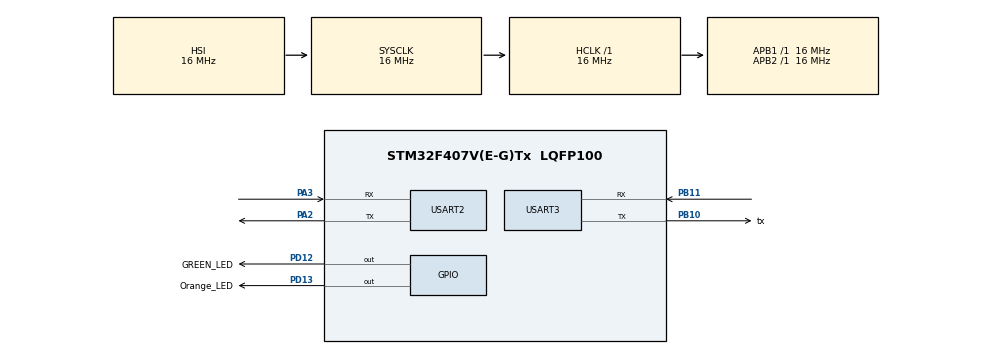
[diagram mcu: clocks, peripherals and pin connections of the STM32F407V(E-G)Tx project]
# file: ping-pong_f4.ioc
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Mcu.Family=STM32F4
Mcu.Name=STM32F407V(E-G)Tx
Mcu.Package=LQFP100
NVIC.PriorityGroup=NVIC_PRIORITYGROUP_4
NVIC.USART3_IRQn=true\:0\:0\:false\:true\:true\:1\:true\:true\:true
PA2.Mode=Asynchronous
PA2.Signal=USART2_TX
PA3.Mode=Asynchronous
PA3.Signal=USART2_RX
PB10.GPIO_Label=tx
PB10.GPIO_PuPd=GPIO_PULLDOWN
PB10.Mode=Asynchronous
PB10.Signal=USART3_TX
PB11.GPIO_PuPd=GPIO_PULLDOWN
PB11.Mode=Asynchronous
PB11.Signal=USART3_RX
PD12.GPIO_Label=GREEN_LED
PD12.GPIO_PuPd=GPIO_NOPULL
PD12.Signal=GPIO_Output
PD13.GPIO_Label=Orange_LED
PD13.Signal=GPIO_Output
ProjectManager.HeapSize=0x200
ProjectManager.StackSize=0x400
ProjectManager.TargetToolchain=STM32CubeIDE
RCC.AHBFreq_Value=16000000
RCC.APB1Freq_Value=16000000
RCC.APB2Freq_Value=16000000
RCC.CortexFreq_Value=16000000
RCC.HSE_VALUE=25000000
RCC.HSI_VALUE=16000000
RCC.LSE_VALUE=32768
RCC.SYSCLKFreq_VALUE=16000000
RCC.VCOOutputFreq_Value=192000000
USART2.VirtualMode=VM_ASYNC
USART3.VirtualMode=VM_ASYNC
board=custom

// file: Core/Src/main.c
/* USER CODE BEGIN Header */
/**
 ******************************************************************************
 * @file           : main.c
 * @brief          : Main program body
 ******************************************************************************
 * @attention
 *
 * Copyright (c) 2025 STMicroelectronics.
 * All rights reserved.
 *
 * This software is licensed under terms that can be found in the LICENSE file
 * in the root directory of this software component.
 * If no LICENSE file comes with this software, it is provided AS-IS.
 *
 ******************************************************************************
 */
/* USER CODE END Header */
#include "main.h"
#include "usart.h"
#include "gpio.h"
#include <string.h>
#include <stdlib.h>

void SystemClock_Config(void);
static void MX_NVIC_Init(void);
/* USER CODE BEGIN PFP */

#define RING_BUFF_SIZE 4
uint8_t buffer[RING_BUFF_SIZE];
volatile uint8_t cmd_index = 0;   // Tracks position in cmd_buffer
volatile uint8_t rcv_cmplt = 0;   // Tracks position in cmd_buffer

/* USER CODE END PFP */

/* USER CODE BEGIN 0 */
uint8_t tx_buffer[4];
uint8_t rx_buff;

//char my_buff[BUFF_SIZE]={0} ;

void HAL_UART_RxCpltCallback(UART_HandleTypeDef *huart) {
	// update the buffer index
	buffer[cmd_index] = rx_buff;
	cmd_index = (cmd_index + 1) % 4;
	if (cmd_index == 0) {
		rcv_cmplt = 1;
	}
	HAL_UART_Receive_IT(&huart3, &rx_buff, 1);
}

volatile uint64_t prev = 0;
/* USER CODE END 0 */

int main(void) {

	/* MCU Configuration--------------------------------------------------------*/

	/* Reset of all peripherals, Initializes the Flash interface and the Systick. */
	HAL_Init();

	/* Configure the system clock */
	SystemClock_Config();

	/* Initialize all configured peripherals */
	MX_GPIO_Init();
	MX_USART2_UART_Init();
	MX_USART3_UART_Init();

	/* Initialize interrupts */
	MX_NVIC_Init();

	/* Infinite loop */
	/* USER CODE BEGIN WHILE */
	HAL_UART_Receive_IT(&huart3, &rx_buff, 1);
	uint8_t first = 1;
	srand(HAL_GetTick());
	uint32_t random_delay = 2000 + rand() % 1000;
	uint32_t start_time = HAL_GetTick();

	while (1) {
		if (first && (HAL_GetTick() - start_time > random_delay)) {
			first = 0;
			memcpy(tx_buffer, "PING", RING_BUFF_SIZE);
			HAL_UART_Transmit_IT(&huart3, tx_buffer, RING_BUFF_SIZE);
			first = 0;
		}

		if (rcv_cmplt) {
			rcv_cmplt = 0;
			if (buffer[0] == 'P' && buffer[1] == 'I' && buffer[2] == 'N'
					&& buffer[3] == 'G') {
				memcpy(tx_buffer, "PONG", RING_BUFF_SIZE);
			} else if (buffer[0] == 'P' && buffer[1] == 'O' && buffer[2] == 'N'
					&& buffer[3] == 'G') {
				memcpy(tx_buffer, "PING", RING_BUFF_SIZE);

			} else {
			}
			HAL_GPIO_WritePin(GREEN_LED_GPIO_Port, GREEN_LED_Pin, GPIO_PIN_RESET);
			for (int i = 0; i < 4; i++) {
				HAL_GPIO_TogglePin(GREEN_LED_GPIO_Port, GREEN_LED_Pin);
				HAL_Delay(100);  // Short delay for visible blinking
			}

			HAL_UART_Transmit(&huart3, tx_buffer, RING_BUFF_SIZE,
			HAL_MAX_DELAY);

		}

//		  HAL_GPIO_TogglePin(Orange_LED_GPIO_Port, Orange_LED_Pin);
//		HAL_Delay(1000);

		/* USER CODE END WHILE */

	}
}

void SystemClock_Config(void)
{
  RCC_OscInitTypeDef RCC_OscInitStruct = {0};
  RCC_ClkInitTypeDef RCC_ClkInitStruct = {0};

  /** Configure the main internal regulator output voltage
  */
  __HAL_RCC_PWR_CLK_ENABLE();
  __HAL_PWR_VOLTAGESCALING_CONFIG(PWR_REGULATOR_VOLTAGE_SCALE1);

  /** Initializes the RCC Oscillators according to the specified parameters
  * in the RCC_OscInitTypeDef structure.
  */
  RCC_OscInitStruct.OscillatorType = RCC_OSCILLATORTYPE_HSI;
  RCC_OscInitStruct.HSIState = RCC_HSI_ON;
  RCC_OscInitStruct.HSICalibrationValue = RCC_HSICALIBRATION_DEFAULT;
  RCC_OscInitStruct.PLL.PLLState = RCC_PLL_NONE;
  if (HAL_RCC_OscConfig(&RCC_OscInitStruct) != HAL_OK)
  {
    Error_Handler();
  }

  /** Initializes the CPU, AHB and APB buses clocks
  */
  RCC_ClkInitStruct.ClockType = RCC_CLOCKTYPE_HCLK|RCC_CLOCKTYPE_SYSCLK
                              |RCC_CLOCKTYPE_PCLK1|RCC_CLOCKTYPE_PCLK2;
  RCC_ClkInitStruct.SYSCLKSource = RCC_SYSCLKSOURCE_HSI;
  RCC_ClkInitStruct.AHBCLKDivider = RCC_SYSCLK_DIV1;
  RCC_ClkInitStruct.APB1CLKDivider = RCC_HCLK_DIV1;
  RCC_ClkInitStruct.APB2CLKDivider = RCC_HCLK_DIV1;

  if (HAL_RCC_ClockConfig(&RCC_ClkInitStruct, FLASH_LATENCY_0) != HAL_OK)
  {
    Error_Handler();
  }
}

/**
  * @brief NVIC Configuration.
  * @retval None
  */
static void MX_NVIC_Init(void)
{
  /* USART3_IRQn interrupt configuration */
  HAL_NVIC_SetPriority(USART3_IRQn, 0, 0);
  HAL_NVIC_EnableIRQ(USART3_IRQn);
}

void Error_Handler(void)
{
  __disable_irq();
  while (1)
  {
  }
}
